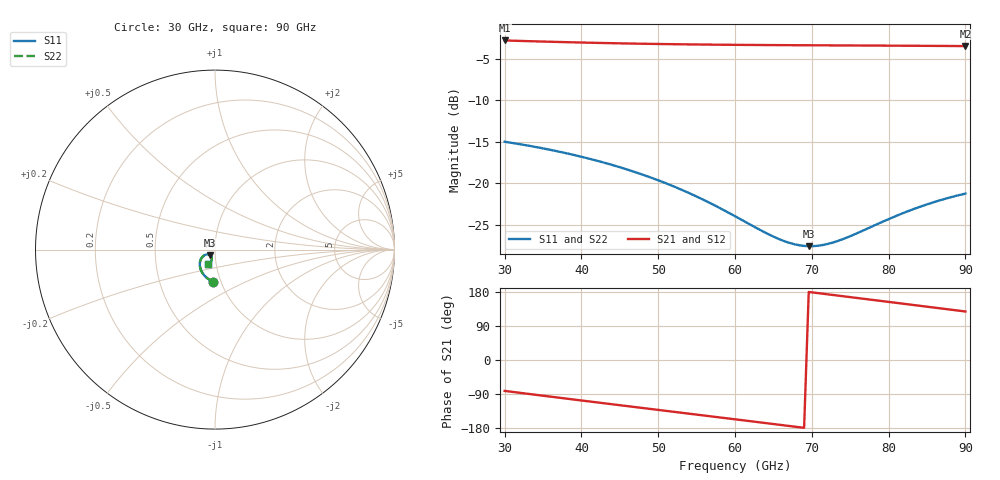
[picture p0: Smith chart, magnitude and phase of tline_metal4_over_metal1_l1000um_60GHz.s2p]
#  GHZ S DB R 50
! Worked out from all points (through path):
!   101 points, 30 GHz to 90 GHz, reference 50 ohm
!   highest |S21| = -2.75 dB at 30 GHz (marker M1); lowest = -3.4 dB at 90 GHz (marker M2)
!   group delay of S21, straight-line fit = 6.94 ps
!   lowest |S11| = -27.6 dB at 69.6 GHz (marker M3), VSWR 1.09, Z = 47.3 - j3.05 ohm
!   |S11| at or under -10 dB: start of sweep to end of sweep
!   |S22| runs from -27.5 to -15.0 dB; largest |S21 - S12| = 0
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30  -14.99 -93.1  -2.75 -81.5  -2.75 -81.5  -14.98 -93.1
32.4  -15.35 -100.0  -2.81 -87.6  -2.81 -87.6  -15.34 -100.0
34.8  -15.75 -106.7  -2.87 -93.7  -2.87 -93.7  -15.74 -106.6
37.2  -16.20 -113.1  -2.93 -99.8  -2.93 -99.8  -16.19 -113.1
40.2  -16.84 -120.8  -3.00 -107.3  -3.00 -107.3  -16.83 -120.7
45  -18.06 -132.1  -3.09 -119.3  -3.09 -119.3  -18.05 -132.0
47.4  -18.78 -137.2  -3.13 -125.2  -3.13 -125.2  -18.76 -137.1
50.4  -19.79 -142.9  -3.18 -132.7  -3.18 -132.7  -19.76 -142.8
55.2  -21.69 -149.6  -3.23 -144.6  -3.23 -144.6  -21.66 -149.5
57.6  -22.80 -151.5  -3.26 -150.5  -3.26 -150.5  -22.76 -151.4
60  -23.98 -151.8  -3.28 -156.5  -3.28 -156.5  -23.93 -151.7
63  -25.51 -149.2  -3.30 -164.0  -3.30 -164.0  -25.45 -149.2
66  -26.85 -142.4  -3.31 -171.5  -3.31 -171.5  -26.78 -142.4
67.8  -27.39 -136.4  -3.32 -176.0  -3.32 -176.0  -27.32 -136.5
69.6  -27.60 -129.4  -3.33 179.5  -3.33 179.5  -27.54 -129.6
70.2  -27.60 -127.1  -3.33 178.0  -3.33 178.0  -27.53 -127.3
72  -27.35 -120.5  -3.34 173.5  -3.34 173.5  -27.30 -120.8
73.8  -26.84 -115.1  -3.35 169.0  -3.35 169.0  -26.79 -115.3
76.8  -25.66 -109.4  -3.36 161.4  -3.36 161.4  -25.63 -109.7
80.4  -24.18 -107.5  -3.38 152.3  -3.38 152.3  -24.16 -107.7
85.2  -22.49 -110.3  -3.40 140.2  -3.40 140.2  -22.48 -110.4
90  -21.25 -116.4  -3.43 128.0  -3.43 128.0  -21.23 -116.5
